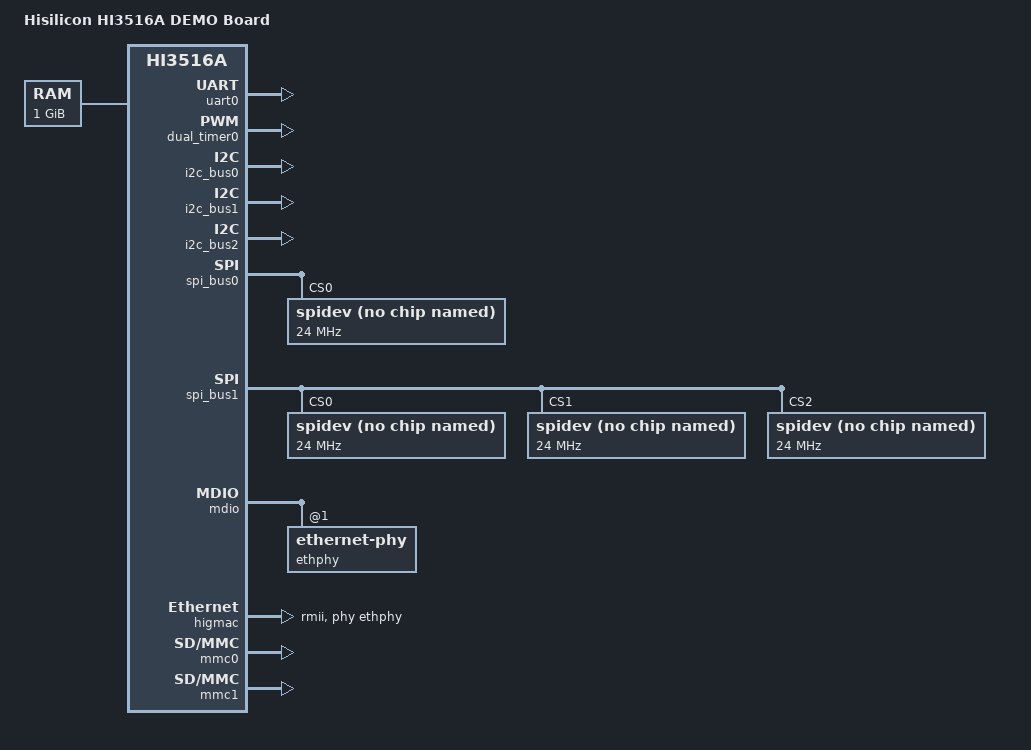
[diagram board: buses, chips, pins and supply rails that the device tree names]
/*
 * Copyright (c) 2013-2014 Linaro Ltd.
 * Copyright (c) 2015-2017 HiSilicon Technologies Co., Ltd.
 *
 * This program is free software; you can redistribute  it and/or modify it
 * under  the terms of  the GNU General  Public License as published by the
 * Free Software Foundation;  either version 2 of the  License, or (at your
 * option) any later version.
 *
 * This program is distributed in the hope that it will be useful,
 * but WITHOUT ANY WARRANTY; without even the implied warranty of
 * MERCHANTABILITY or FITNESS FOR A PARTICULAR PURPOSE. See the
 * GNU General Public License for more details.
 *
 * You should have received a copy of the GNU General Public License
 * along with this program.  If not, see <http://www.gnu.org/licenses/>.
 *
 */

/dts-v1/;
#include "hi3516a.dtsi"

/ {
	model = "Hisilicon HI3516A DEMO Board";
	compatible = "hiSilicon,hi3516a";

	cpus {
		#address-cells = <1>;
		#size-cells = <0>;

		cpu@0 {
			device_type = "cpu";
			compatible = "arm,cortex-a7";
			reg = <0>;

			operating-points = <
				/* KHz    uV */
				 600000 1100000
				 732000 1200000
				 850000 1300000
				 500000 1060000
				 400000 1020000
		    >;

			clocks = <&clock HI3516A_A7_MUX>,
				<&clock HI3516A_FIXED_400M>,
				<&clock HI3516A_FIXED_500M>,
				<&clock HI3516A_APLL_CLK>;
			clock-names = "a7_mux","400m", "500m","apll";

			vcc-supply = <&a7_regulator>;
		};
	};

	avs {
		compatible = "hi3516a,avs";
		avs-num = <2>;
		avs-name-array = "cpu-avs","media-avs";
		cpu_avs: cpu_avs{
			avs-name = "cpu-avs";
			opp-num = <5>;
			opp-freq = <600000 732000 850000 500000 400000>;
			opp-volt-min = <940000 1000000 1070000 940000 940000>;
			opp-hpm = <270 325 365 255 240>;
			opp-div = <11 14 16 10 8>;
			opp-volt-max = <1310000>;
		};

		media_avs: media_avs{
			avs-name = "media-avs";
			opp-num = <5>;
			opp-freq = <0 1 2 3 4>;
			opp-volt-min = <930000 930000 930000 930000 930000>;
			opp-hpm = <245 245 245 260 285>;
			opp-div = <3 3 4 5 5>;
			opp-volt-max = <1310000>;
		};
	};

	memory {
		device_type = "memory";
		reg = <0x80000000 0x40000000>;
	};
};

&uart0 {
	status = "okay";
};

&dual_timer0 {
	status = "okay";
};


&hidmac {
	status = "okay";
};


&i2c_bus0 {
	status = "okay";
};

&i2c_bus1 {
	status = "okay";
};

&i2c_bus2 {
	status = "okay";
};


&spi_bus0{
	status = "okay";
	num-cs = <1>;

	spidev@0 {
		compatible = "rohm,dh2228fv";
		reg = <0>;
		pl022,interface = <0>;
		pl022,com_mode = <0>;
		spi-max-frequency = <24000000>;
	};
};

&spi_bus1{
	status = "okay";
	num-cs = <3>;

	spidev@0 {
		compatible = "rohm,dh2228fv";
		reg = <0>;
		pl022,interface = <0>;
		pl022,com_mode = <0>;
		spi-max-frequency = <24000000>;
	};

	spidev@1 {
		compatible = "rohm,dh2228fv";
		reg = <1>;
		pl022,interface = <0>;
		pl022,com_mode = <0>;
		spi-max-frequency = <24000000>;
	};

	spidev@2 {
		compatible = "rohm,dh2228fv";
		reg = <2>;
		pl022,interface = <0>;
		pl022,com_mode = <0>;
		spi-max-frequency = <24000000>;
	};
};

&mdio {
	ethphy: ethernet-phy@1 {
		/* reg = <1>; Disabled to invoke autoprobe */
	};
};

&higmac {
	phy-handle = <&ethphy>;
	phy-mode = "rmii";
};


&mmc0 {
	status = "okay";
};

&mmc1 {
	status = "okay";
};

&gpio_chip0 {
	status = "okay";
};

&gpio_chip1 {
	status = "okay";
};

&gpio_chip2 {
	status = "okay";
};

&gpio_chip3 {
	status = "okay";
};

&gpio_chip4 {
	status = "okay";
};

&gpio_chip5 {
	status = "okay";
};

&gpio_chip6 {
	status = "okay";
};

&gpio_chip7 {
	status = "okay";
};

&gpio_chip8 {
	status = "okay";
};

&gpio_chip9 {
	status = "okay";
};

&gpio_chip10 {
	status = "okay";
};

&gpio_chip11 {
	status = "okay";
};

&gpio_chip12 {
	status = "okay";
};

&gpio_chip13 {
	status = "okay";
};

&gpio_chip14 {
	status = "okay";
};

&gpio_chip15 {
	status = "okay";
};

